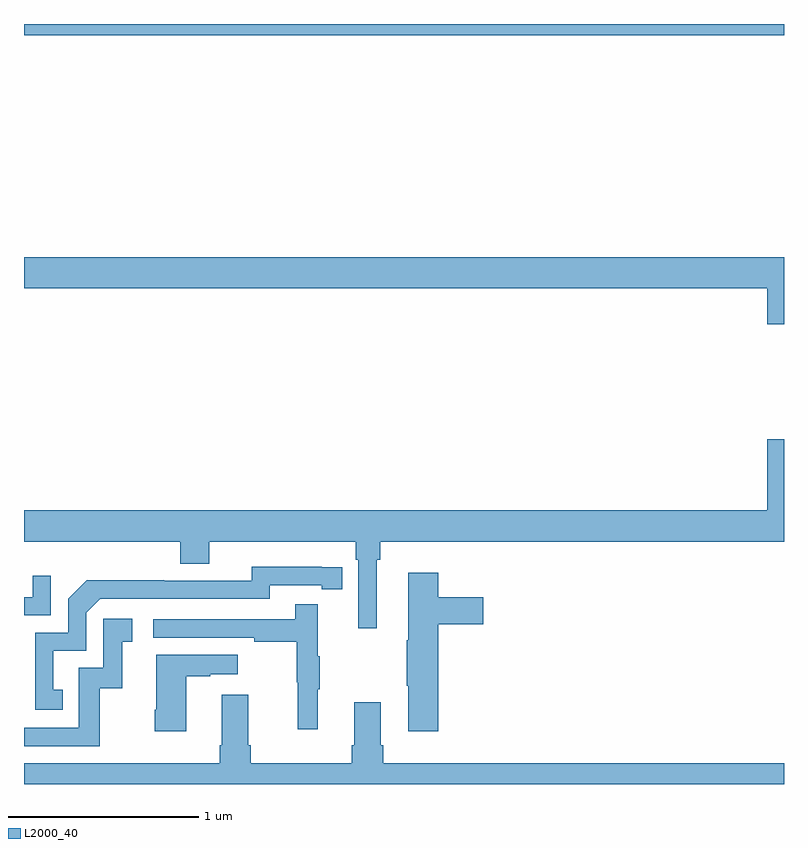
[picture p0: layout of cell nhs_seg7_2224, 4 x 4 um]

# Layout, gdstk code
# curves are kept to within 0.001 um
import gdstk
lib = gdstk.Library(unit=1e-6, precision=1e-09)
def R(c, l, rs):  # rectangles x0, y0, x1, y1
    for r in rs: c.add(gdstk.rectangle(r[:2], r[2:], *l))
def P(c, l, *ps):  # polygons
    for p in ps: c.add(gdstk.Polygon(p, *l))
L2000_40 = (2000, 40)

nhs_seg7_2224 = lib.new_cell('nhs_seg7_2224')
R(nhs_seg7_2224, L2000_40, [(257,1009.94,261,1010)])
P(nhs_seg7_2224, L2000_40, [(261,1008.772),(257,1008.772),(257,1008.608),(260.912,1008.608),(260.912,1008.42),(261,1008.42)],
  [(258.856,1007.18),(258.875,1007.18),(258.875,1007.276),(261,1007.276),(261,1007.815),(260.912,1007.815),(260.912,1007.44),(257,1007.44),(257,1007.276),(257.822,1007.276),(257.822,1007.159),(257.974,1007.159),(257.974,1007.276),(258.746,1007.276),(258.746,1007.18),(258.759,1007.18),(258.759,1006.821),(258.856,1006.821)],
  [(257.204,1006.497),(257.155,1006.497),(257.155,1006.701),(257.328,1006.701),(257.328,1006.902),(257.4,1006.974),(258.294,1006.974),(258.294,1007.046),(258.566,1007.046),(258.566,1007.026),(258.674,1007.026),(258.674,1007.142),(258.198,1007.143),(258.198,1007.07),(257.738,1007.07),(257.738,1007.072),(257.33,1007.072),(257.232,1006.974),(257.232,1006.797),(257.058,1006.797),(257.058,1006.392),(257.204,1006.392)],
  [(259.181,1006.841),(259.416,1006.841),(259.416,1006.983),(259.181,1006.983),(259.181,1007.113),(259.022,1007.113),(259.022,1006.757),(259.015,1006.757),(259.015,1006.516),(259.022,1006.516),(259.022,1006.278),(259.181,1006.278)],
  [(257.142,1007.095),(257.045,1007.095),(257.045,1006.983),(257,1006.983),(257,1006.887),(257.142,1006.887)],
  [(258.545,1006.499),(258.556,1006.499),(258.556,1006.673),(258.545,1006.673),(258.545,1006.945),(258.427,1006.945),(258.427,1006.866),(257.679,1006.866),(257.679,1006.77),(258.211,1006.77),(258.211,1006.75),(258.435,1006.75),(258.435,1006.536),(258.442,1006.536),(258.442,1006.287),(258.545,1006.287)],
  [(257.398,1006.503),(257.516,1006.503),(257.516,1006.749),(257.569,1006.749),(257.569,1006.87),(257.418,1006.87),(257.418,1006.611),(257.289,1006.611),(257.289,1006.296),(257,1006.296),(257,1006.2),(257.398,1006.2)],
  [(257.854,1006.567),(257.981,1006.567),(257.981,1006.577),(258.124,1006.577),(258.124,1006.681),(257.696,1006.681),(257.696,1006.39),(257.689,1006.39),(257.689,1006.278),(257.854,1006.278)],
  [(261,1006.108),(258.89,1006.108),(258.89,1006.204),(258.877,1006.204),(258.877,1006.429),(258.737,1006.429),(258.737,1006.204),(258.725,1006.204),(258.725,1006.108),(258.194,1006.108),(258.194,1006.204),(258.181,1006.204),(258.181,1006.471),(258.041,1006.471),(258.041,1006.204),(258.029,1006.204),(258.029,1006.108),(257,1006.108),(257,1006),(261,1006)])

lib.write_gds('nhs_seg7_2224.gds')
